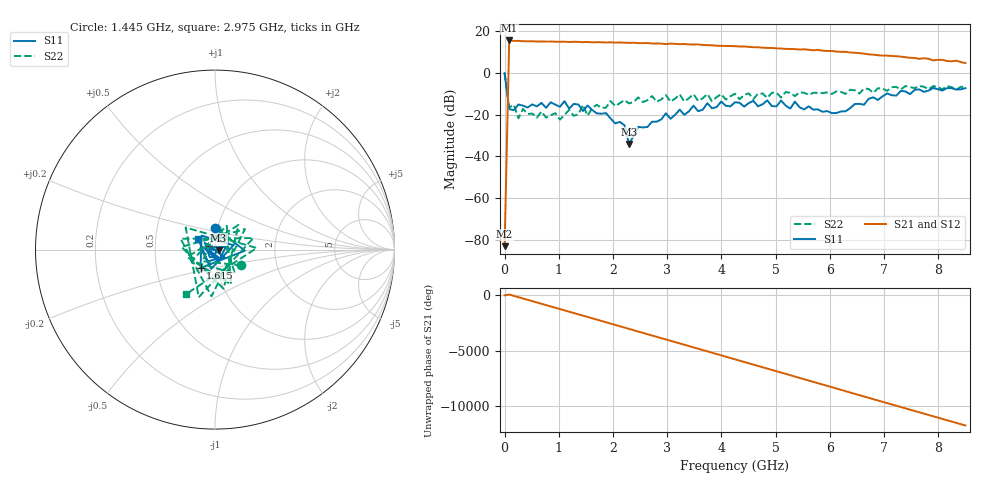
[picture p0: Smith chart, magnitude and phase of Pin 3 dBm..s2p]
! RsaToolbox (C) 2013 Rohde & Schwarz America
! Number of points: 101
! Number of ports: 2
! Balanced ports?: 0
# Hz S RI R 50
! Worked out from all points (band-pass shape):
!   101 points, 9 kHz to 8.5 GHz, reference 50 ohm
!   highest |S21| = 15.64 dB at 85.01 MHz (marker M1); lowest = -83.1 dB at 9 kHz (marker M2)
!   |S21| within 3 dB of the highest: 82.43 MHz to 4.467 GHz (4.385 GHz wide, 193 % of centre)
!   lowest |S11| = -34.0 dB at 2.295 GHz (marker M3), VSWR 1.04, Z = 52 - j0.256 ohm
!   |S11| at or under -10 dB: 49.12 MHz to 7.043 GHz (6.994 GHz wide, 197 % of centre); 7.076 GHz to 7.256 GHz (180 MHz wide, 2.51 % of centre); 7.472188 GHz to 7.484734 GHz (12.55 MHz wide, 0.168 % of centre)
!   |S22| runs from -22.4 to 0.0 dB; largest |S21 - S12| = 0
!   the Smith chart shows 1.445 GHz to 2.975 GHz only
!   S11 on the Smith chart (normalised r, x): 1.445 GHz: 0.97, +0.24; 1.615 GHz: 0.83, -0.17; 2.975 GHz: 0.83, +0.09
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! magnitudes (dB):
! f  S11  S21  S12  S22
! 9 kHz  0.0  -83.1  -83.1  0.0
! 85.01 MHz  -17.3  15.6  15.6  -16.6
! 170 MHz  -17.8  15.4  15.4  -15.2
! 255 MHz  -15.1  15.4  15.4  -21.7
! 340 MHz  -15.7  15.3  15.3  -17.2
! 1.02 GHz  -16.2  15.0  15.0  -22.4
! 1.445 GHz  -18.2  14.8  14.8  -15.3
! 1.53 GHz  -15.6  14.9  14.9  -20.4
! 1.615 GHz  -17.7  14.7  14.7  -16.8
! 2.21 GHz  -25.0  14.6  14.6  -13.0
! 2.295 GHz  -34.0  14.5  14.5  -14.5
! 2.465 GHz  -25.8  14.4  14.4  -11.7
! 2.89 GHz  -22.3  14.1  14.1  -12.7
! 2.975 GHz  -19.3  13.9  13.9  -10.5
! 3.315 GHz  -20.1  13.9  13.9  -13.6
! 3.74 GHz  -14.4  13.4  13.4  -10.1
! 3.825 GHz  -16.9  13.3  13.3  -13.5
! 4.25 GHz  -14.0  12.9  12.9  -9.9
! 5.695 GHz  -17.6  10.9  10.9  -9.5
! 6.12 GHz  -19.2  10.3  10.3  -8.8
! 7.14 GHz  -10.6  8.2  8.2  -6.8
! 8.5 GHz  -7.3  4.8  4.8  -6.7
